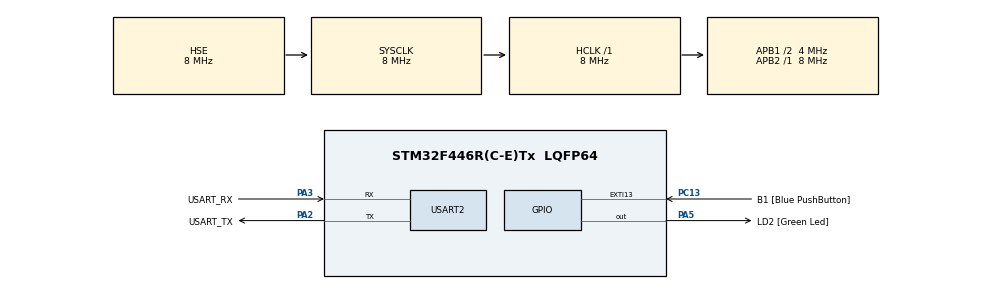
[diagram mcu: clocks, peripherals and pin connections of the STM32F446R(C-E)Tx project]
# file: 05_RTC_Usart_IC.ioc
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Mcu.Family=STM32F4
Mcu.Name=STM32F446R(C-E)Tx
Mcu.Package=LQFP64
NVIC.PriorityGroup=NVIC_PRIORITYGROUP_0
NVIC.RTC_Alarm_IRQn=true\:0\:0\:false\:false\:true\:true\:true\:true
PA13.GPIO_Label=TMS
PA13.Mode=Serial_Wire
PA13.Signal=SYS_JTMS-SWDIO
PA14.GPIO_Label=TCK
PA14.Mode=Serial_Wire
PA14.Signal=SYS_JTCK-SWCLK
PA2.GPIO_Label=USART_TX
PA2.Mode=Asynchronous
PA2.Signal=USART2_TX
PA3.GPIO_Label=USART_RX
PA3.Mode=Asynchronous
PA3.Signal=USART2_RX
PA5.GPIO_Label=LD2 [Green Led]
PA5.Signal=GPIO_Output
PB3.GPIO_Label=SWO
PB3.Signal=SYS_JTDO-SWO
PC13.GPIO_Label=B1 [Blue PushButton]
PC13.GPIO_ModeDefaultEXTI=GPIO_MODE_IT_FALLING
PC13.Signal=GPXTI13
PC14-OSC32_IN.Mode=LSE-External-Oscillator
PC14-OSC32_IN.Signal=RCC_OSC32_IN
PC15-OSC32_OUT.Mode=LSE-External-Oscillator
PC15-OSC32_OUT.Signal=RCC_OSC32_OUT
PH0-OSC_IN.Mode=HSE-External-Oscillator
PH0-OSC_IN.Signal=RCC_OSC_IN
PH1-OSC_OUT.Mode=HSE-External-Oscillator
PH1-OSC_OUT.Signal=RCC_OSC_OUT
ProjectManager.HeapSize=0x200
ProjectManager.StackSize=0x400
ProjectManager.TargetToolchain=STM32CubeIDE
RCC.48MHZClocksFreq_Value=84000000
RCC.AHBFreq_Value=8000000
RCC.APB1CLKDivider=RCC_HCLK_DIV2
RCC.APB1Freq_Value=4000000
RCC.APB1TimFreq_Value=8000000
RCC.APB2Freq_Value=8000000
RCC.APB2TimFreq_Value=8000000
RCC.CortexFreq_Value=8000000
RCC.EnbaleCSS=true
RCC.FLatency-AdvancedSettings=FLASH_LATENCY_0
RCC.HCLKFreq_Value=8000000
RCC.HSE_VALUE=8000000
RCC.HSI_VALUE=16000000
RCC.PLLN=336
RCC.PLLP=RCC_PLLP_DIV4
RCC.RCC_RTC_Clock_SourceVirtual=RCC_RTCCLKSOURCE_LSE
RCC.SYSCLKFreq_VALUE=8000000
RCC.SYSCLKSource=RCC_SYSCLKSOURCE_HSE
RCC.USBFreq_Value=168000000
RCC.VCOOutputFreq_Value=336000000
RTC.Alarm=RTC_ALARM_A
RTC.Format=RTC_FORMAT_BIN
USART2.VirtualMode=VM_ASYNC
VP_RTC_VS_RTC_Activate.Mode=RTC_Enabled
VP_RTC_VS_RTC_Alarm_A_Intern.Mode=Alarm A
VP_RTC_VS_RTC_Calendar.Mode=RTC_Calendar
board=NUCLEO-F446RE

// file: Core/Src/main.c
/* USER CODE BEGIN Header */
/**
 ******************************************************************************
 * @file           : main.c
 * @brief          : Main program body
 ******************************************************************************
 * @attention
 *
 * Copyright (c) 2026 STMicroelectronics.
 * All rights reserved.
 *
 * This software is licensed under terms that can be found in the LICENSE file
 * in the root directory of this software component.
 * If no LICENSE file comes with this software, it is provided AS-IS.
 *
 ******************************************************************************
 *
 * Simple program to enable and work with RTC (Real Time Clock)
 */
/* USER CODE END Header */
#include "main.h"

/* USER CODE BEGIN Includes */
#include <stdio.h>
#include <stdint.h>
#include <string.h>
/* USER CODE END Includes */

RTC_HandleTypeDef hrtc;

UART_HandleTypeDef huart2;

void SystemClock_Config(void);
static void MX_GPIO_Init(void);
static void MX_RTC_Init(void);
static void MX_USART2_UART_Init(void);
/* USER CODE BEGIN PFP */
void rtc_set_time(uint8_t hr, uint8_t min, uint8_t sec);
void rtc_set_date(uint8_t year, uint8_t month, uint8_t week_day, uint8_t date);
void rtc_get_time_and_date(char *time, char *date);
void rtc_set_alarm(uint8_t hr, uint8_t min, uint8_t sec, uint8_t date);
/* USER CODE END PFP */

int main(void) {

	/* USER CODE BEGIN 1 */
	char date[20] = {'\0'};
	char time[20] = {'\0'};

	char message[100];
	/* USER CODE END 1 */

	/* MCU Configuration--------------------------------------------------------*/

	/* Reset of all peripherals, Initializes the Flash interface and the Systick. */
	HAL_Init();

	/* Configure the system clock */
	SystemClock_Config();

	/* Initialize all configured peripherals */
	MX_GPIO_Init();
	MX_RTC_Init();
	MX_USART2_UART_Init();
	/* USER CODE BEGIN 2 */
	// Initialize the RTC with data and time (only if required)
	if(HAL_RTCEx_BKUPRead(&hrtc, RTC_BKP_DR1) != 0x2345)
	{
		rtc_set_time(11, 54, 30);
		rtc_set_date(25, 2, 1, 1);
	}

	// Set the alarm
	rtc_set_alarm(11, 46, 00, 1);
	/* USER CODE END 2 */

	/* Infinite loop */
	/* USER CODE BEGIN WHILE */
	while (1) {
		rtc_get_time_and_date(time, date);

		sprintf(message, "Date : %s \t Time : %s", date, time);

		// Clear the screen and send the message
		HAL_UART_Transmit(&huart2, (uint8_t*) "\033[0;0H", strlen("\033[0;0H"), HAL_MAX_DELAY);
		HAL_UART_Transmit(&huart2, (uint8_t*) "\033[2J", strlen("\033[2J"), HAL_MAX_DELAY);
		HAL_UART_Transmit(&huart2, (uint8_t *) message, strlen(message), HAL_MAX_DELAY);

		HAL_Delay(1000);
		/* USER CODE END WHILE */

	}
}

void SystemClock_Config(void) {
	RCC_OscInitTypeDef RCC_OscInitStruct = { 0 };
	RCC_ClkInitTypeDef RCC_ClkInitStruct = { 0 };

	/** Configure the main internal regulator output voltage
	 */
	__HAL_RCC_PWR_CLK_ENABLE();
	__HAL_PWR_VOLTAGESCALING_CONFIG(PWR_REGULATOR_VOLTAGE_SCALE3);

	/** Initializes the RCC Oscillators according to the specified parameters
	 * in the RCC_OscInitTypeDef structure.
	 */
	RCC_OscInitStruct.OscillatorType = RCC_OSCILLATORTYPE_HSE
			| RCC_OSCILLATORTYPE_LSE;
	RCC_OscInitStruct.HSEState = RCC_HSE_ON;
	RCC_OscInitStruct.LSEState = RCC_LSE_ON;
	RCC_OscInitStruct.PLL.PLLState = RCC_PLL_NONE;
	if (HAL_RCC_OscConfig(&RCC_OscInitStruct) != HAL_OK) {
		Error_Handler();
	}

	/** Initializes the CPU, AHB and APB buses clocks
	 */
	RCC_ClkInitStruct.ClockType = RCC_CLOCKTYPE_HCLK | RCC_CLOCKTYPE_SYSCLK
			| RCC_CLOCKTYPE_PCLK1 | RCC_CLOCKTYPE_PCLK2;
	RCC_ClkInitStruct.SYSCLKSource = RCC_SYSCLKSOURCE_HSE;
	RCC_ClkInitStruct.AHBCLKDivider = RCC_SYSCLK_DIV1;
	RCC_ClkInitStruct.APB1CLKDivider = RCC_HCLK_DIV2;
	RCC_ClkInitStruct.APB2CLKDivider = RCC_HCLK_DIV1;

	if (HAL_RCC_ClockConfig(&RCC_ClkInitStruct, FLASH_LATENCY_0) != HAL_OK) {
		Error_Handler();
	}

	/** Enables the Clock Security System
	 */
	HAL_RCC_EnableCSS();
}

static void MX_RTC_Init(void) {

	RTC_TimeTypeDef sTime = { 0 };
	RTC_DateTypeDef sDate = { 0 };
	RTC_AlarmTypeDef sAlarm = { 0 };

	/** Initialize RTC Only
	 */
	hrtc.Instance = RTC;
	hrtc.Init.HourFormat = RTC_HOURFORMAT_24;
	hrtc.Init.AsynchPrediv = 127;
	hrtc.Init.SynchPrediv = 255;
	hrtc.Init.OutPut = RTC_OUTPUT_DISABLE;
	hrtc.Init.OutPutPolarity = RTC_OUTPUT_POLARITY_HIGH;
	hrtc.Init.OutPutType = RTC_OUTPUT_TYPE_OPENDRAIN;
	if (HAL_RTC_Init(&hrtc) != HAL_OK) {
		Error_Handler();
	}

	/** Initialize RTC and set the Time and Date
	 */
	sTime.Hours = 0;
	sTime.Minutes = 0;
	sTime.Seconds = 0;
	sTime.DayLightSaving = RTC_DAYLIGHTSAVING_NONE;
	sTime.StoreOperation = RTC_STOREOPERATION_RESET;
	if (HAL_RTC_SetTime(&hrtc, &sTime, RTC_FORMAT_BIN) != HAL_OK) {
		Error_Handler();
	}
	sDate.WeekDay = RTC_WEEKDAY_MONDAY;
	sDate.Month = RTC_MONTH_JANUARY;
	sDate.Date = 1;
	sDate.Year = 0;

	if (HAL_RTC_SetDate(&hrtc, &sDate, RTC_FORMAT_BIN) != HAL_OK) {
		Error_Handler();
	}

	/** Enable the Alarm A
	 */
	sAlarm.AlarmTime.Hours = 0;
	sAlarm.AlarmTime.Minutes = 0;
	sAlarm.AlarmTime.Seconds = 0;
	sAlarm.AlarmTime.SubSeconds = 0;
	sAlarm.AlarmTime.DayLightSaving = RTC_DAYLIGHTSAVING_NONE;
	sAlarm.AlarmTime.StoreOperation = RTC_STOREOPERATION_RESET;
	sAlarm.AlarmMask = RTC_ALARMMASK_NONE;
	sAlarm.AlarmSubSecondMask = RTC_ALARMSUBSECONDMASK_ALL;
	sAlarm.AlarmDateWeekDaySel = RTC_ALARMDATEWEEKDAYSEL_DATE;
	sAlarm.AlarmDateWeekDay = 1;
	sAlarm.Alarm = RTC_ALARM_A;
	if (HAL_RTC_SetAlarm_IT(&hrtc, &sAlarm, RTC_FORMAT_BIN) != HAL_OK) {
		Error_Handler();
	}

}

static void MX_USART2_UART_Init(void) {

	huart2.Instance = USART2;
	huart2.Init.BaudRate = 115200;
	huart2.Init.WordLength = UART_WORDLENGTH_8B;
	huart2.Init.StopBits = UART_STOPBITS_1;
	huart2.Init.Parity = UART_PARITY_NONE;
	huart2.Init.Mode = UART_MODE_TX_RX;
	huart2.Init.HwFlowCtl = UART_HWCONTROL_NONE;
	huart2.Init.OverSampling = UART_OVERSAMPLING_16;
	if (HAL_UART_Init(&huart2) != HAL_OK) {
		Error_Handler();
	}

}

static void MX_GPIO_Init(void) {
	GPIO_InitTypeDef GPIO_InitStruct = { 0 };

	/* GPIO Ports Clock Enable */
	__HAL_RCC_GPIOC_CLK_ENABLE();
	__HAL_RCC_GPIOH_CLK_ENABLE();
	__HAL_RCC_GPIOA_CLK_ENABLE();
	__HAL_RCC_GPIOB_CLK_ENABLE();

	/*Configure GPIO pin Output Level */
	HAL_GPIO_WritePin(LD2_GPIO_Port, LD2_Pin, GPIO_PIN_RESET);

	/*Configure GPIO pin : B1_Pin */
	GPIO_InitStruct.Pin = B1_Pin;
	GPIO_InitStruct.Mode = GPIO_MODE_IT_FALLING;
	GPIO_InitStruct.Pull = GPIO_NOPULL;
	HAL_GPIO_Init(B1_GPIO_Port, &GPIO_InitStruct);

	/*Configure GPIO pin : LD2_Pin */
	GPIO_InitStruct.Pin = LD2_Pin;
	GPIO_InitStruct.Mode = GPIO_MODE_OUTPUT_PP;
	GPIO_InitStruct.Pull = GPIO_NOPULL;
	GPIO_InitStruct.Speed = GPIO_SPEED_FREQ_LOW;
	HAL_GPIO_Init(LD2_GPIO_Port, &GPIO_InitStruct);

}

/* USER CODE BEGIN 4 */
// Set a custom time
void rtc_set_time(uint8_t hr, uint8_t min, uint8_t sec)
{
	// Define a Time TypeDef struct for holding the details about the time to be set to the RTC clock
	RTC_TimeTypeDef sTime;
	sTime.Hours = hr;
	sTime.Minutes = min;
	sTime.Seconds = sec;
	sTime.DayLightSaving = RTC_DAYLIGHTSAVING_NONE;
	sTime.StoreOperation = RTC_STOREOPERATION_RESET;

	if(HAL_RTC_SetTime(&hrtc, &sTime, RTC_FORMAT_BIN) != HAL_OK) Error_Handler();
}

// Set a custom date
void rtc_set_date(uint8_t year, uint8_t month, uint8_t week_day, uint8_t date)
{
	// Define a Date TypeDef struct for holding the details about the date to be set
	RTC_DateTypeDef sDate;
	sDate.WeekDay = week_day;
	sDate.Date = date;
	sDate.Month = month;
	sDate.Year = year;

	if(HAL_RTC_SetDate(&hrtc, &sDate, RTC_FORMAT_BIN) != HAL_OK) Error_Handler();

	// Backup register
	// The value of the backup register does not change if MCU is turned on or off,
	// So we write a random value to the backup register, such that if we read the backup register and it's value
	// remains same as we set, we don't reset the date and time.
	HAL_RTCEx_BKUPWrite(&hrtc, RTC_BKP_DR1, 0x2345);
}

// Get the time and date
void rtc_get_time_and_date(char *time, char *date)
{
	// Declare structs for holding the time and date
	RTC_DateTypeDef rDate = {0};
	RTC_TimeTypeDef rTime = {0};

	// Get the time and date in the binary formats
	HAL_RTC_GetTime(&hrtc, &rTime, RTC_FORMAT_BIN);
	HAL_RTC_GetDate(&hrtc, &rDate, RTC_FORMAT_BIN);

	// Save the time in readable format (HH : MM : SS)
	sprintf(time, "%02d : %02d : %02d", rTime.Hours, rTime.Minutes, rTime.Seconds);

	// Save the date in readable format (DD / MM / YYYY)
	sprintf(date, "%02d / %02d / %2d", rDate.Date, rDate.Month, (2000 + rDate.Year));
}

// Set alarm using for RTC
void rtc_set_alarm(uint8_t hr, uint8_t min, uint8_t sec, uint8_t date)
{
	// Declare and save all the details for the Alarm in Alarm TypeDef struct (refer RTC_MX_Init())
	RTC_AlarmTypeDef sAlarm = {0};

	sAlarm.AlarmTime.Hours = hr;
	sAlarm.AlarmTime.Minutes = min;
	sAlarm.AlarmTime.Seconds = sec;
	sAlarm.AlarmTime.DayLightSaving = RTC_DAYLIGHTSAVING_NONE;
	sAlarm.AlarmTime.StoreOperation = RTC_STOREOPERATION_RESET;
	sAlarm.AlarmMask = RTC_ALARMMASK_NONE;
	sAlarm.AlarmSubSecondMask = RTC_ALARMSUBSECONDMASK_ALL;
	sAlarm.AlarmDateWeekDaySel = RTC_ALARMDATEWEEKDAYSEL_DATE;
	sAlarm.AlarmDateWeekDay = date;
	sAlarm.Alarm = RTC_ALARM_A;

	// Enable Alarm for RTC as Interrupts
	if(HAL_RTC_SetAlarm_IT(&hrtc, &sAlarm, RTC_FORMAT_BIN) != HAL_OK) Error_Handler();
}

// Callback function for RTC Alarm A interrupt
void HAL_RTC_AlarmAEventCallback(RTC_HandleTypeDef *hrtc)
{
	// Set the LED if the Alarm has been set
	HAL_GPIO_WritePin(LD2_GPIO_Port, LD2_Pin, SET);
}
/* USER CODE END 4 */

void Error_Handler(void) {
	__disable_irq();
	while (1) {
	}
}
